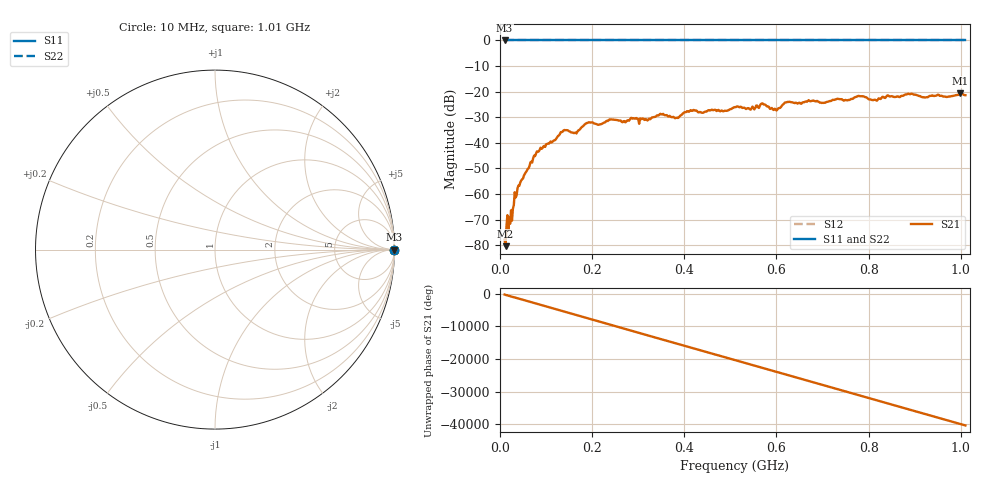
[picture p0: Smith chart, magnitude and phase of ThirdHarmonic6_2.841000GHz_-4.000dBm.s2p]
! 8/17/2025 7:37:50 AM
! C:\ANRITSUVNA\TEMP\TEMP.S2P
! CHANNEL.1
! TR.MEASUREMENT
! RAW.DATA
! RF.CORRECTION.OFF
! AVERAGING.OFF
! IF.BANDWIDTH: 5KHZ
! SWEEPTYPE:  FREQ.SWEEP(Linear)
! Reference Plane Port Info
! PORT:  PORT1  PORT2
! DISTANCE:  0  m  0  m
! TIME:  0  s  0  s
! PHASE.OFFSET:  0  deg.  0  deg.
! LOSS:  0  dB  0  dB
! REF.LOSS:  0  dB  0  dB
! REF.FREQ:  0  Hz  0  Hz
! Power Info
! POWER:  -20  dBm  -20  dBm
! EFF.POWER:  -20  dBm  -20  dBm
! SOURCE.ATTEN:  0  dB  0  dB
! TEST.ATTEN:  0  dB  0  dB
# GHZ S RI R 50.0
! FREQ.GHZ  S11RE  S11IM  S21RE  S21IM  S12RE  S12IM  S22RE  S22IM
!; PortSelection: Port_12
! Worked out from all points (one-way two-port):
!   501 points, 10 MHz to 1.01 GHz, reference 50 ohm
!   highest |S21| = -20.68 dB at 998 MHz (marker M1); lowest = -80.3 dB at 12 MHz (marker M2)
!   lowest |S11| = 0.0 dB at 10 MHz (marker M3)
!   |S11| at or under -10 dB: nowhere
!   |S22| runs from 0.0 to 0.0 dB; largest |S21 - S12| = 1.1
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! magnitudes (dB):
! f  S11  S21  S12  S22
! 10 MHz  0.0  -77.8  0.0  0.0
! 12 MHz  0.0  -80.3  0.0  0.0
! 26 MHz  0.0  -70.4  0.0  0.0
! 36 MHz  0.0  -60.6  0.0  0.0
! 76 MHz  0.0  -45.2  0.0  0.0
! 136 MHz  0.0  -35.6  0.0  0.0
! 164 MHz  0.0  -35.9  0.0  0.0
! 178 MHz  0.0  -33.8  0.0  0.0
! 192 MHz  0.0  -32.0  0.0  0.0
! 318 MHz  0.0  -30.9  0.0  0.0
! 344 MHz  0.0  -29.3  0.0  0.0
! 384 MHz  0.0  -30.2  0.0  0.0
! 416 MHz  0.0  -27.5  0.0  0.0
! 510 MHz  0.0  -26.0  0.0  0.0
! 570 MHz  0.0  -24.6  0.0  0.0
! 598 MHz  0.0  -26.9  0.0  0.0
! 622 MHz  0.0  -24.2  0.0  0.0
! 678 MHz  0.0  -23.5  0.0  0.0
! 814 MHz  0.0  -23.1  0.0  0.0
! 844 MHz  0.0  -21.7  0.0  0.0
! 998 MHz  0.0  -20.7  0.0  0.0
! 1.01 GHz  0.0  -21.4  0.0  0.0
